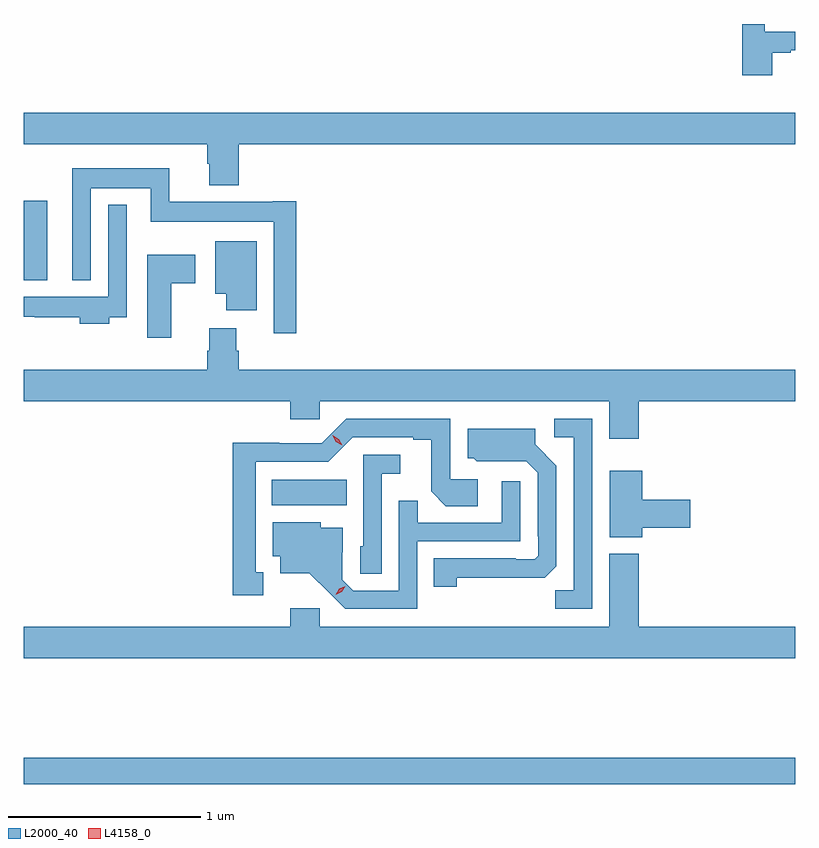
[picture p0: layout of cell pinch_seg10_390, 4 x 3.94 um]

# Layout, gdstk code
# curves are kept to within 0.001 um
import gdstk
lib = gdstk.Library(unit=1e-6, precision=1e-09)
def R(c, l, rs):  # rectangles x0, y0, x1, y1
    for r in rs: c.add(gdstk.rectangle(r[:2], r[2:], *l))
def P(c, l, *ps):  # polygons
    for p in ps: c.add(gdstk.Polygon(p, *l))
L2000_40 = (2000, 40)
L4158_0 = (4158, 0)

pinch_seg10_390 = lib.new_cell('pinch_seg10_390')
R(pinch_seg10_390, L2000_40, [(597.176,1259.704,601.176,1259.84), (598.463,1261.148,598.85,1261.282), (597.176,1262.316,597.298,1262.727)])
P(pinch_seg10_390, L2000_40, [(601.057,1263.495),(601.153,1263.495),(601.153,1263.507),(601.176,1263.507),(601.176,1263.603),(601.017,1263.603),(601.017,1263.643),(600.901,1263.643),(600.901,1263.378),(601.057,1263.378)],
  [(598.292,1263.02),(601.176,1263.02),(601.176,1263.184),(597.176,1263.184),(597.176,1263.02),(598.127,1263.02),(598.127,1262.919),(598.139,1262.919),(598.139,1262.807),(598.292,1262.807)],
  [(598.589,1262.725),(598.466,1262.725),(598.466,1262.722),(597.932,1262.722),(597.932,1262.896),(597.428,1262.896),(597.428,1262.315),(597.525,1262.315),(597.525,1262.792),(597.834,1262.792),(597.834,1262.618),(598.473,1262.618),(598.473,1262.04),(598.589,1262.04)],
  [(597.619,1262.124),(597.711,1262.124),(597.711,1262.707),(597.615,1262.707),(597.615,1262.23),(597.176,1262.23),(597.176,1262.126),(597.235,1262.126),(597.235,1262.124),(597.467,1262.124),(597.467,1262.09),(597.619,1262.09)],
  [(598.384,1262.518),(598.169,1262.518),(598.169,1262.246),(598.226,1262.246),(598.226,1262.16),(598.384,1262.16)],
  [(597.94,1262.299),(598.066,1262.299),(598.066,1262.446),(597.818,1262.446),(597.818,1262.016),(597.94,1262.016)],
  [(600.365,1261.688),(601.176,1261.688),(601.176,1261.852),(598.292,1261.852),(598.292,1261.95),(598.279,1261.95),(598.279,1262.065),(598.139,1262.065),(598.139,1261.95),(598.127,1261.95),(598.127,1261.852),(597.176,1261.852),(597.176,1261.688),(598.559,1261.688),(598.559,1261.595),(598.71,1261.595),(598.71,1261.688),(600.212,1261.688),(600.212,1261.494),(600.365,1261.494)],
  [(600.123,1261.596),(599.925,1261.596),(599.925,1261.5),(600.027,1261.5),(600.027,1260.707),(599.932,1260.707),(599.932,1260.612),(600.123,1260.612)],
  [(598.417,1260.801),(598.378,1260.801),(598.378,1261.374),(598.755,1261.374),(598.881,1261.5),(599.195,1261.5),(599.195,1261.488),(599.289,1261.488),(599.289,1261.22),(599.365,1261.144),(599.53,1261.144),(599.53,1261.284),(599.388,1261.284),(599.388,1261.596),(598.848,1261.596),(598.722,1261.47),(598.5,1261.47),(598.5,1261.472),(598.26,1261.472),(598.26,1260.681),(598.417,1260.681)],
  [(599.421,1260.772),(599.878,1260.773),(599.937,1260.832),(599.937,1261.354),(599.827,1261.464),(599.827,1261.546),(599.477,1261.546),(599.477,1261.392),(599.508,1261.392),(599.524,1261.376),(599.781,1261.377),(599.841,1261.317),(599.841,1260.988),(599.844,1260.988),(599.844,1260.888),(599.826,1260.87),(599.726,1260.87),(599.726,1260.873),(599.302,1260.873),(599.302,1260.726),(599.421,1260.726)],
  [(599.031,1261.313),(599.128,1261.313),(599.128,1261.41),(598.935,1261.41),(598.935,1260.936),(598.92,1260.936),(598.92,1260.793),(599.031,1260.793)],
  [(600.382,1261.031),(600.631,1261.031),(600.631,1261.178),(600.382,1261.178),(600.382,1261.327),(600.215,1261.327),(600.215,1260.983),(600.382,1260.983)],
  [(599.217,1260.963),(599.751,1260.963),(599.751,1261.273),(599.655,1261.273),(599.655,1261.059),(599.219,1261.059),(599.219,1261.172),(599.121,1261.172),(599.121,1260.705),(598.884,1260.705),(598.827,1260.762),(598.827,1260.904),(598.831,1260.904),(598.831,1261.033),(598.716,1261.033),(598.716,1261.06),(598.466,1261.06),(598.466,1260.884),(598.505,1260.884),(598.505,1260.797),(598.657,1260.797),(598.844,1260.612),(599.217,1260.612)],
  [(601.176,1260.52),(600.365,1260.52),(600.365,1260.898),(600.212,1260.898),(600.212,1260.52),(598.71,1260.52),(598.71,1260.616),(598.559,1260.616),(598.559,1260.52),(597.176,1260.52),(597.176,1260.356),(601.176,1260.356)])
P(pinch_seg10_390, L4158_0, [(598.794,1260.685),(598.794,1260.686),(598.811,1260.715),(598.842,1260.73),(598.842,1260.73),(598.842,1260.73),(598.825,1260.7),(598.795,1260.685)],
  [(598.827,1261.46),(598.795,1261.479),(598.778,1261.511),(598.778,1261.512),(598.778,1261.512),(598.81,1261.492),(598.827,1261.46),(598.827,1261.46)])

lib.write_gds('pinch_seg10_390.gds')
